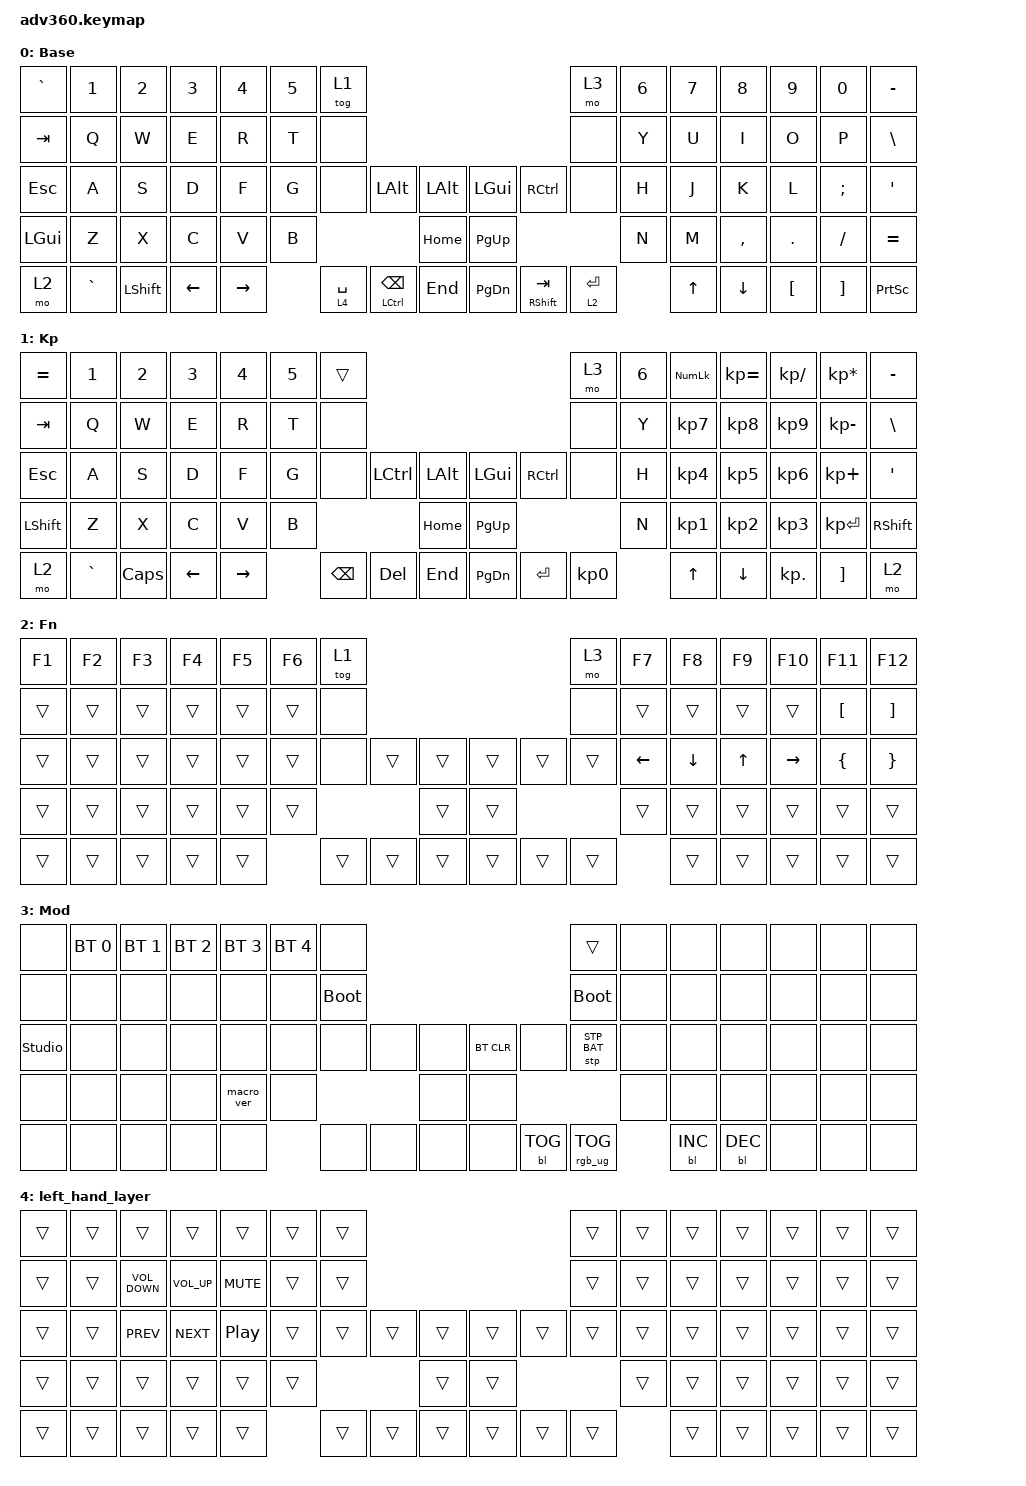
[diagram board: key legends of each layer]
#include <dt-bindings/zmk/stp.h>
#include <behaviors.dtsi>
#include <dt-bindings/zmk/backlight.h>
#include <dt-bindings/zmk/bt.h>
#include <dt-bindings/zmk/keys.h>
#include <dt-bindings/zmk/rgb.h>

/ {
    behaviors {
        #include "macros.dtsi"
      #include "version.dtsi"

        hm: homerow_mods {
            compatible = "zmk,behavior-hold-tap";
            label = "HOMEROW_MODS";
            #binding-cells = <2>;
            tapping-term-ms = <200>;
            quick_tap_ms = <175>;
            flavor = "tap-preferred";
            bindings = <&kp>, <&kp>;
        };

        custom_hold_tap: custom_hold_tap {
            compatible = "zmk,behavior-hold-tap";
            label = "CUSTOM_HOLD_TAP";
            bindings = <&kp>, <&kp>;

            #binding-cells = <2>;
            tapping-term-ms = <100>;
            quick-tap-ms = <200>;
        };
    };

    keymap {
        compatible = "zmk,keymap";

        default_layer {
            display-name = "Base";
            bindings = <
&kp GRAVE     &kp N1     &kp N2          &kp N3    &kp N4     &kp N5  &tog 1                                                                                         &mo 3        &kp N6  &kp N7  &kp N8     &kp N9    &kp N0    &kp MINUS
&kp TAB       &kp Q      &kp W           &kp E     &kp R      &kp T   &none                                                                                          &none        &kp Y   &kp U   &kp I      &kp O     &kp P     &kp BSLH
&kp ESC       &kp A      &kp S           &kp D     &kp F      &kp G   &none        &kp LEFT_ALT                             &kp LALT      &kp LGUI   &kp RCTRL       &none        &kp H   &kp J   &kp K      &kp L     &kp SEMI  &kp SQT
&kp LEFT_GUI  &kp Z      &kp X           &kp C     &kp V      &kp B                                                         &kp HOME      &kp PG_UP                               &kp N   &kp M   &kp COMMA  &kp DOT   &kp FSLH  &kp EQUAL
&mo 2         &kp GRAVE  &kp LEFT_SHIFT  &kp LEFT  &kp RIGHT          &lt 4 SPACE  &custom_hold_tap LEFT_CONTROL BACKSPACE  &kp END       &kp PG_DN  &mt RSHIFT TAB  &lt 2 ENTER          &kp UP  &kp DOWN   &kp LBKT  &kp RBKT  &kp PRINTSCREEN
            >;
        };

        keypad {
            display-name = "Kp";
            bindings = <
&kp EQUAL  &kp N1     &kp N2    &kp N3    &kp N4     &kp N5  &trans                                                   &mo 3      &kp N6  &kp KP_NUM  &kp KP_EQUAL  &kp KP_DIVIDE  &kp KP_MULTIPLY  &kp MINUS
&kp TAB    &kp Q      &kp W     &kp E     &kp R      &kp T   &none                                                    &none      &kp Y   &kp KP_N7   &kp KP_N8     &kp KP_N9      &kp KP_MINUS     &kp BSLH
&kp ESC    &kp A      &kp S     &kp D     &kp F      &kp G   &none     &kp LCTRL  &kp LALT      &kp LGUI   &kp RCTRL  &none      &kp H   &kp KP_N4   &kp KP_N5     &kp KP_N6      &kp KP_PLUS      &kp SQT
&kp LSHFT  &kp Z      &kp X     &kp C     &kp V      &kp B                        &kp HOME      &kp PG_UP                        &kp N   &kp KP_N1   &kp KP_N2     &kp KP_N3      &kp KP_ENTER     &kp RSHFT
&mo 2      &kp GRAVE  &kp CAPS  &kp LEFT  &kp RIGHT          &kp BSPC  &kp DEL    &kp END       &kp PG_DN  &kp ENTER  &kp KP_N0          &kp UP      &kp DOWN      &kp KP_DOT     &kp RBKT         &mo 2
            >;
        };

        fn {
            display-name = "Fn";
            bindings = <
&kp F1  &kp F2  &kp F3  &kp F4  &kp F5  &kp F6  &tog 1                                      &mo 3   &kp F7          &kp F8    &kp F9  &kp F10    &kp F11           &kp F12
&trans  &trans  &trans  &trans  &trans  &trans  &none                                       &none   &trans          &trans    &trans  &trans     &kp LEFT_BRACKET  &kp RIGHT_BRACKET
&trans  &trans  &trans  &trans  &trans  &trans  &none   &trans  &trans      &trans  &trans  &trans  &kp LEFT_ARROW  &kp DOWN  &kp UP  &kp RIGHT  &kp LEFT_BRACE    &kp RIGHT_BRACE
&trans  &trans  &trans  &trans  &trans  &trans                  &trans      &trans                  &trans          &trans    &trans  &trans     &trans            &trans
&trans  &trans  &trans  &trans  &trans          &trans  &trans  &trans      &trans  &trans  &trans                  &trans    &trans  &trans     &trans            &trans
            >;
        };

        mod {
            display-name = "Mod";
            bindings = <
&none           &bt BT_SEL 0  &bt BT_SEL 1  &bt BT_SEL 2  &bt BT_SEL 3  &bt BT_SEL 4  &none                                                  &trans           &none  &none       &none       &none  &none  &none
&none           &none         &none         &none         &none         &none         &bootloader                                            &bootloader      &none  &none       &none       &none  &none  &none
&studio_unlock  &none         &none         &none         &none         &none         &none        &none  &none      &bt BT_CLR  &none       &stp STP_BAT     &none  &none       &none       &none  &none  &none
&none           &none         &none         &none         &macro_ver    &none                             &none      &none                                    &none  &none       &none       &none  &none  &none
&none           &none         &none         &none         &none                       &none        &none  &none      &none       &bl BL_TOG  &rgb_ug RGB_TOG         &bl BL_INC  &bl BL_DEC  &none  &none  &none
            >;
        };

        left_hand_layer {
            bindings = <
&trans  &trans  &trans             &trans           &trans            &trans  &trans                                      &trans  &trans  &trans  &trans  &trans  &trans  &trans
&trans  &trans  &kp C_VOLUME_DOWN  &kp C_VOLUME_UP  &kp C_MUTE        &trans  &trans                                      &trans  &trans  &trans  &trans  &trans  &trans  &trans
&trans  &trans  &kp C_PREV         &kp C_NEXT       &kp C_PLAY_PAUSE  &trans  &trans  &trans  &trans      &trans  &trans  &trans  &trans  &trans  &trans  &trans  &trans  &trans
&trans  &trans  &trans             &trans           &trans            &trans                  &trans      &trans                  &trans  &trans  &trans  &trans  &trans  &trans
&trans  &trans  &trans             &trans           &trans                    &trans  &trans  &trans      &trans  &trans  &trans          &trans  &trans  &trans  &trans  &trans
            >;
        };
    };
};
